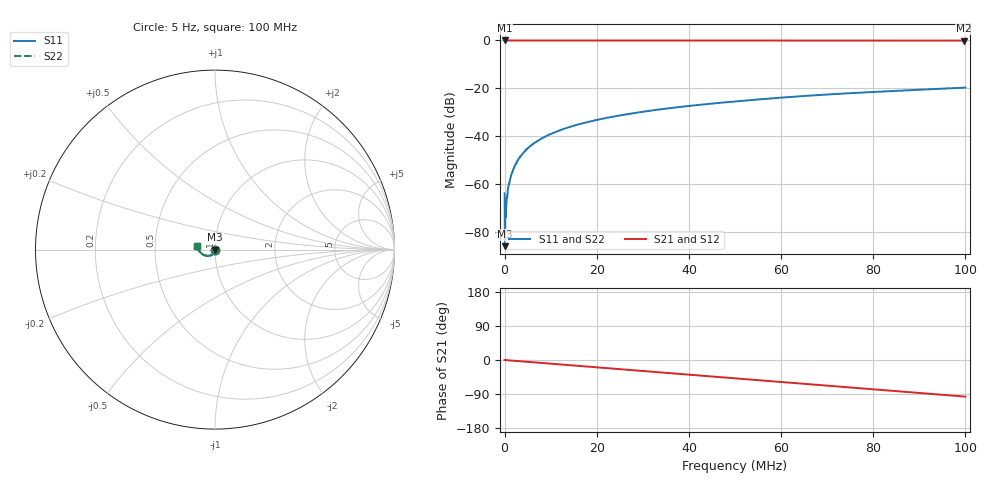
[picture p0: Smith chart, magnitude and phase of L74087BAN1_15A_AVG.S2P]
!Agilent Technologies,E5061B,MY49102235,A.02.00
!Date: Mon Jul 10 15:55:32 2023
!Data & Calibration Information:
!Freq	S11:SOLT2(ON)	S21:SOLT2(ON)	S12:SOLT2(ON)	S22:SOLT2(ON)
# Hz S RI R 50
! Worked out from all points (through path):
!   1600 points, 5 Hz to 100 MHz, reference 50 ohm
!   highest |S21| = 0.02 dB at 5 Hz (marker M1); lowest = -0.1 dB at 99.62 MHz (marker M2)
!   group delay of S21, straight-line fit = 2.69 ns
!   lowest |S11| = -85.9 dB at 62.54 kHz (marker M3), VSWR 1.00, Z = 50 - j0.00221 ohm
!   |S11| at or under -10 dB: start of sweep to end of sweep
!   |S22| runs from -78.6 to -19.6 dB; largest |S21 - S12| = 0.0027
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5  -0.00046 0.000446  1.002 0.00236  1.001 -6.21e-05  -0.000153 -5.4e-05
62544.08  -4.57e-05 -2.21e-05  1 -0.000778  1 -0.000661  1.57e-05 -0.000116
250161.3  6.82e-05 -0.000191  0.9998 -0.00429  0.9998 -0.00424  3.48e-05 -0.00021
562856.8  0.000127 -0.000508  0.9997 -0.00965  0.9996 -0.00924  7.58e-05 -0.000568
687934.9  8.36e-06 -0.000755  1 -0.0114  1 -0.0117  -3.04e-06 -0.000674
938091.3  -0.000196 -0.000998  0.9996 -0.0156  0.9995 -0.0151  -0.000161 -0.00102
1063169  -0.000101 -0.0011  1 -0.0179  1 -0.0181  -5.2e-05 -0.00117
1313326  -9.57e-05 -0.00138  0.9998 -0.0215  0.9991 -0.022  -9.75e-05 -0.00144
1813638  -0.000117 -0.00194  0.9999 -0.0305  0.999 -0.0305  -0.00011 -0.00195
2376490  -8.67e-05 -0.0026  0.9997 -0.0403  0.9992 -0.04  -8.55e-05 -0.00261
3877428  -0.000163 -0.00426  0.9979 -0.0655  0.9976 -0.0652  -0.000291 -0.0043
5941218  -0.000601 -0.00661  0.9949 -0.1002  0.9949 -0.0998  -0.000714 -0.00653
8755477  -0.00135 -0.00963  0.9888 -0.1475  0.989 -0.1471  -0.00141 -0.00951
1.250782e7  -0.00277 -0.0136  0.9774 -0.2096  0.9775 -0.2096  -0.00278 -0.0134
1.669794e7  -0.00501 -0.0177  0.9602 -0.2781  0.9602 -0.278  -0.00491 -0.0176
2.395247e7  -0.0103 -0.024  0.9188 -0.3934  0.9187 -0.393  -0.0102 -0.0242
3.333334e7  -0.0195 -0.0303  0.8451 -0.5331  0.8452 -0.5329  -0.0194 -0.0307
5.003127e7  -0.0407 -0.0346  0.663 -0.7465  0.6629 -0.7466  -0.0411 -0.035
6.672921e7  -0.0654 -0.0283  0.429 -0.9003  0.4287 -0.9  -0.0656 -0.0287
8.33646e7  -0.0866 -0.01  0.1622 -0.9824  0.162 -0.9822  -0.0871 -0.0107
9.962477e7  -0.1016 0.0184  -0.1088 -0.9881  -0.1091 -0.9879  -0.1023 0.0173
1e8  -0.1019 0.0191  -0.1151 -0.9876  -0.1153 -0.9872  -0.1027 0.0179
